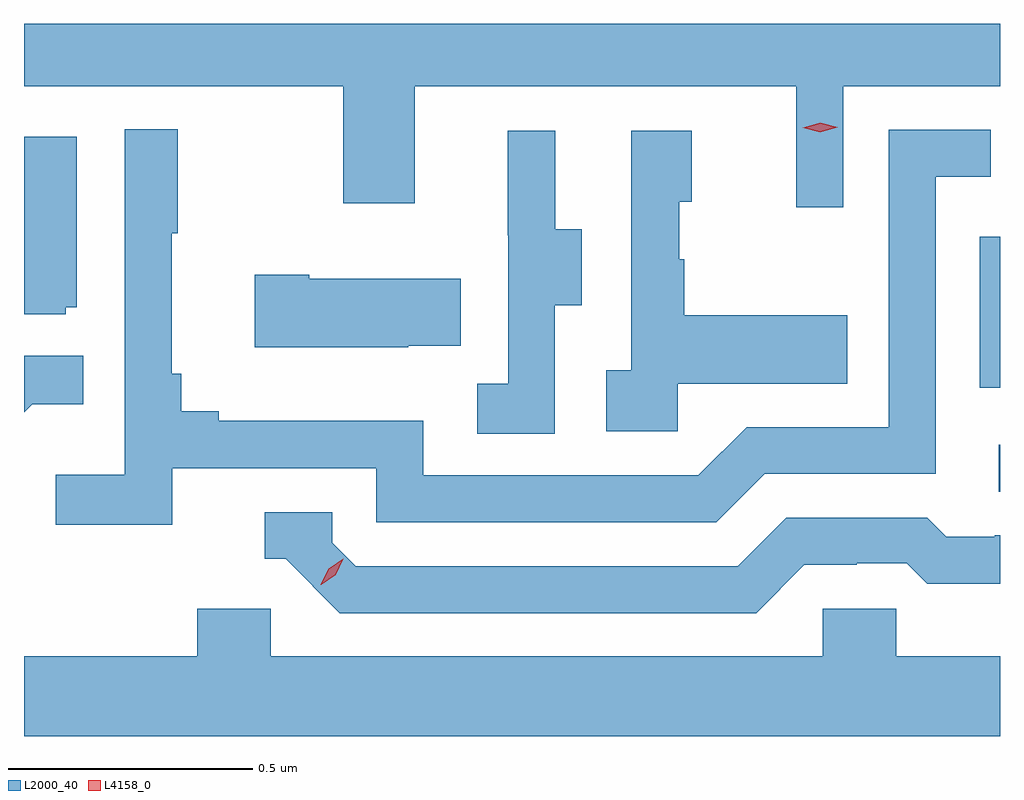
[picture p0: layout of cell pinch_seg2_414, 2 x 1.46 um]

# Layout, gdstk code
import gdstk
lib = gdstk.Library(unit=1e-6, precision=1e-09)
def R(c, l, rs):  # rectangles x0, y0, x1, y1
    for r in rs: c.add(gdstk.rectangle(r[:2], r[2:], *l))
def P(c, l, *ps):  # polygons
    for p in ps: c.add(gdstk.Polygon(p, *l))
L2000_40 = (2000, 40)
L4158_0 = (4158, 0)

pinch_seg2_414 = lib.new_cell('pinch_seg2_414')
R(pinch_seg2_414, L2000_40, [(967.479,621.498,967.482,621.594), (967.44,621.711,967.482,622.02)])
P(pinch_seg2_414, L2000_40, [(967.161,622.328),(967.482,622.328),(967.482,622.457),(965.482,622.457),(965.482,622.328),(966.136,622.328),(966.136,622.089),(966.283,622.089),(966.283,622.328),(967.064,622.328),(967.064,622.08),(967.161,622.08)],
  [(965.786,621.546),(966.204,621.546),(966.204,621.435),(966.901,621.435),(967,621.534),(967.35,621.534),(967.35,622.143),(967.463,622.143),(967.463,622.239),(967.254,622.239),(967.254,621.63),(966.963,621.63),(966.864,621.531),(966.3,621.531),(966.3,621.643),(965.881,621.643),(965.881,621.662),(965.804,621.662),(965.804,621.739),(965.785,621.739),(965.785,622.027),(965.797,622.027),(965.797,622.24),(965.688,622.24),(965.688,621.532),(965.547,621.532),(965.547,621.43),(965.786,621.43)],
  [(966.822,621.719),(967.169,621.719),(967.169,621.859),(966.835,621.859),(966.835,621.974),(966.825,621.974),(966.825,622.092),(966.85,622.092),(966.85,622.237),(966.726,622.237),(966.726,621.746),(966.675,621.746),(966.675,621.621),(966.822,621.621)],
  [(966.57,621.88),(966.625,621.88),(966.625,622.035),(966.571,622.035),(966.571,622.237),(966.473,622.237),(966.473,622.023),(966.474,622.023),(966.474,621.719),(966.411,621.719),(966.411,621.616),(966.57,621.616)],
  [(965.568,621.876),(965.59,621.876),(965.59,622.225),(965.482,622.225),(965.482,621.861),(965.568,621.861)],
  [(966.269,621.797),(966.377,621.797),(966.377,621.934),(966.067,621.934),(966.067,621.942),(965.955,621.942),(965.955,621.794),(966.269,621.794)],
  [(965.499,621.677),(965.603,621.677),(965.603,621.776),(965.482,621.776),(965.482,621.66)],
  [(967.081,621.348),(967.188,621.348),(967.188,621.351),(967.291,621.351),(967.333,621.309),(967.482,621.309),(967.482,621.408),(967.471,621.408),(967.471,621.405),(967.372,621.405),(967.333,621.444),(967.044,621.444),(966.945,621.345),(966.162,621.345),(966.114,621.393),(966.114,621.456),(965.975,621.456),(965.975,621.36),(966.018,621.36),(966.129,621.249),(966.982,621.249)],
  [(967.482,621.16),(967.269,621.16),(967.269,621.258),(967.119,621.258),(967.119,621.16),(965.988,621.16),(965.988,621.258),(965.837,621.258),(965.837,621.16),(965.482,621.16),(965.482,620.996),(967.482,620.996)])
P(pinch_seg2_414, L4158_0, [(967.114,622.234),(967.078,622.243),(967.078,622.243),(967.078,622.243),(967.114,622.254),(967.15,622.244),(967.15,622.244),(967.15,622.244)],
  [(966.09,621.307),(966.09,621.308),(966.106,621.34),(966.136,621.36),(966.136,621.36),(966.136,621.36),(966.121,621.327),(966.091,621.307)])

lib.write_gds('pinch_seg2_414.gds')
